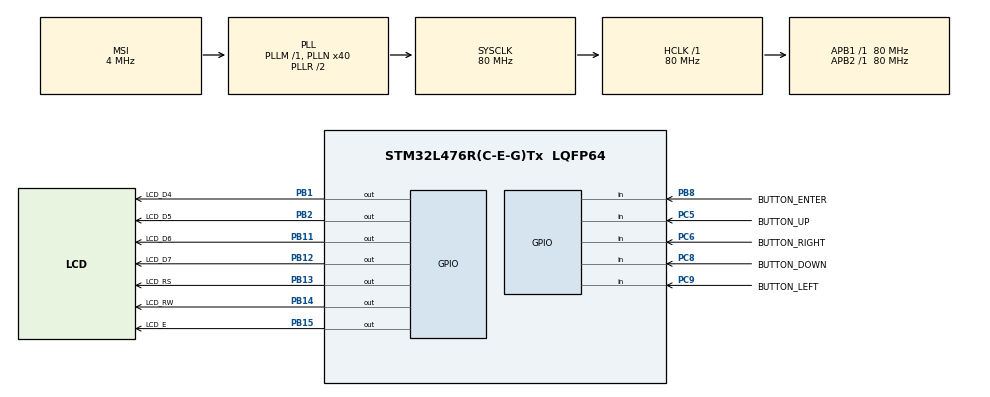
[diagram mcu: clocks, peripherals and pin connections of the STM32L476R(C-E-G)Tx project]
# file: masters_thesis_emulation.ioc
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Mcu.Family=STM32L4
Mcu.Name=STM32L476R(C-E-G)Tx
Mcu.Package=LQFP64
NVIC.PriorityGroup=NVIC_PRIORITYGROUP_4
PA13\ (JTMS-SWDIO).Mode=Serial_Wire
PA13\ (JTMS-SWDIO).Signal=SYS_JTMS-SWDIO
PA14\ (JTCK-SWCLK).Mode=Serial_Wire
PA14\ (JTCK-SWCLK).Signal=SYS_JTCK-SWCLK
PB1.GPIO_Label=LCD_D4
PB1.Signal=GPIO_Output
PB11.GPIO_Label=LCD_D6
PB11.Signal=GPIO_Output
PB12.GPIO_Label=LCD_D7
PB12.Signal=GPIO_Output
PB13.GPIO_Label=LCD_RS
PB13.Signal=GPIO_Output
PB14.GPIO_Label=LCD_RW
PB14.Signal=GPIO_Output
PB15.GPIO_Label=LCD_E
PB15.Signal=GPIO_Output
PB2.GPIO_Label=LCD_D5
PB2.Signal=GPIO_Output
PB8.GPIO_Label=BUTTON_ENTER
PB8.GPIO_PuPd=GPIO_PULLDOWN
PB8.Signal=GPIO_Input
PC5.GPIO_Label=BUTTON_UP
PC5.GPIO_PuPd=GPIO_PULLDOWN
PC5.Signal=GPIO_Input
PC6.GPIO_Label=BUTTON_RIGHT
PC6.GPIO_PuPd=GPIO_PULLDOWN
PC6.Signal=GPIO_Input
PC8.GPIO_Label=BUTTON_DOWN
PC8.GPIO_PuPd=GPIO_PULLDOWN
PC8.Signal=GPIO_Input
PC9.GPIO_Label=BUTTON_LEFT
PC9.GPIO_PuPd=GPIO_PULLDOWN
PC9.Signal=GPIO_Input
ProjectManager.HeapSize=0x200
ProjectManager.StackSize=0x400
ProjectManager.TargetToolchain=STM32CubeIDE
RCC.AHBFreq_Value=80000000
RCC.APB1Freq_Value=80000000
RCC.APB1TimFreq_Value=80000000
RCC.APB2Freq_Value=80000000
RCC.APB2TimFreq_Value=80000000
RCC.CortexFreq_Value=80000000
RCC.HCLKFreq_Value=80000000
RCC.HSE_VALUE=8000000
RCC.HSI_VALUE=16000000
RCC.LSE_VALUE=32768
RCC.MSI_VALUE=4000000
RCC.PLLN=40
RCC.SYSCLKFreq_VALUE=80000000
RCC.SYSCLKSource=RCC_SYSCLKSOURCE_PLLCLK
RCC.VCOOutputFreq_Value=160000000
board=custom

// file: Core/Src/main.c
/* USER CODE BEGIN Header */
/**
  ******************************************************************************
  * @file           : main.c
  * @brief          : Main program body
  ******************************************************************************
  * @attention
  *
  * Copyright (c) 2024 STMicroelectronics.
  * All rights reserved.
  *
  * This software is licensed under terms that can be found in the LICENSE file
  * in the root directory of this software component.
  * If no LICENSE file comes with this software, it is provided AS-IS.
  *
  ******************************************************************************
  */
/* USER CODE END Header */
#include "main.h"
#include "gpio.h"

/* USER CODE BEGIN Includes */
#include "lcd.h"
#include <stdbool.h>
/* USER CODE END Includes */

/* USER CODE BEGIN PTD */
#define button_portType GPIO_TypeDef*
#define button_pinType uint16_t
typedef struct {
	button_portType button_port;
	button_pinType button_pin;
} button_HandleTypeDef;
/* USER CODE END PTD */

/* USER CODE BEGIN PM */
#define BLINK_TIME 125
#define CLICK_TIME 100
/* USER CODE END PM */

void SystemClock_Config(void);
/* USER CODE BEGIN PFP */
void buttons();
/* USER CODE END PFP */

int main(void)
{

  /* MCU Configuration--------------------------------------------------------*/

  /* Reset of all peripherals, Initializes the Flash interface and the Systick. */
  HAL_Init();

  /* Configure the system clock */
  SystemClock_Config();

  /* Initialize all configured peripherals */
  MX_GPIO_Init();
  /* USER CODE BEGIN 2 */
  Lcd_PortType ports[] = { LCD_D4_GPIO_Port, LCD_D5_GPIO_Port, LCD_D6_GPIO_Port, LCD_D7_GPIO_Port };
  Lcd_PinType pins[] = {LCD_D4_Pin, LCD_D5_Pin, LCD_D6_Pin, LCD_D7_Pin};
  Lcd_HandleTypeDef lcd;
  lcd = Lcd_create(ports, pins, LCD_RS_GPIO_Port, LCD_RS_Pin, LCD_E_GPIO_Port, LCD_E_Pin, LCD_4_BIT_MODE);

  bool isEnterPressed = 0;
  enum pos {UNITIES = 7, TENTHS = 9, HUNDREDTHS = 10, UNITS = 12};
  int m = 150;
  int cursor_pos = 0;
  char lcd_infoText[] = "masa = ";
  char lcd_unitText[] = "[kg]";
  Lcd_cursor(&lcd, 0, cursor_pos);
  Lcd_string(&lcd, lcd_infoText);
  cursor_pos = strlen(lcd_infoText);
  Lcd_cursor(&lcd, 0, cursor_pos);
  Lcd_int(&lcd, m/100);
  Lcd_string(&lcd, ".");
  Lcd_int(&lcd, m%100);
  Lcd_cursor(&lcd, 0, UNITS);
  Lcd_string(&lcd, lcd_unitText);

  while (isEnterPressed == false)
  {
	  if(HAL_GPIO_ReadPin(BUTTON_UP_GPIO_Port, BUTTON_UP_Pin) == GPIO_PIN_SET && m < 300){
		  HAL_Delay(CLICK_TIME);
		  m++;
		  Lcd_cursor(&lcd, 0, cursor_pos);
		  Lcd_int(&lcd, m/100);
		  Lcd_string(&lcd, ".");
		  if (m%100 < 10){
			  Lcd_cursor(&lcd, 0, TENTHS);
			  Lcd_int(&lcd, 0);
			  Lcd_cursor(&lcd, 0, HUNDREDTHS);
		  }
		  Lcd_int(&lcd, m%100);
	  } else if (HAL_GPIO_ReadPin(BUTTON_DOWN_GPIO_Port, BUTTON_DOWN_Pin) == GPIO_PIN_SET && m > 0) {
		  HAL_Delay(CLICK_TIME);
		  m--;
		  Lcd_cursor(&lcd, 0, cursor_pos);
		  Lcd_int(&lcd, m/100);
		  Lcd_string(&lcd, ".");
		  if (m%100 < 10){
			  Lcd_cursor(&lcd, 0, TENTHS);
			  Lcd_int(&lcd, 0);
			  Lcd_cursor(&lcd, 0, HUNDREDTHS);
		  }
		  Lcd_int(&lcd, m%100);
	  } else if (HAL_GPIO_ReadPin(BUTTON_LEFT_GPIO_Port, BUTTON_LEFT_Pin) == GPIO_PIN_SET){

	  } else if (HAL_GPIO_ReadPin(BUTTON_RIGHT_GPIO_Port, BUTTON_RIGHT_Pin) == GPIO_PIN_SET){

	  } else if (HAL_GPIO_ReadPin(BUTTON_ENTER_GPIO_Port, BUTTON_ENTER_Pin) == GPIO_PIN_SET){
		  isEnterPressed = true;
		  while(HAL_GPIO_ReadPin(BUTTON_ENTER_GPIO_Port, BUTTON_ENTER_Pin) == GPIO_PIN_SET)
		  {}
	  }
  }
  /* USER CODE END 2 */

  /* Infinite loop */
  while (1)
  {

  }
}

void SystemClock_Config(void)
{
  RCC_OscInitTypeDef RCC_OscInitStruct = {0};
  RCC_ClkInitTypeDef RCC_ClkInitStruct = {0};

  /** Configure the main internal regulator output voltage
  */
  if (HAL_PWREx_ControlVoltageScaling(PWR_REGULATOR_VOLTAGE_SCALE1) != HAL_OK)
  {
    Error_Handler();
  }

  /** Initializes the RCC Oscillators according to the specified parameters
  * in the RCC_OscInitTypeDef structure.
  */
  RCC_OscInitStruct.OscillatorType = RCC_OSCILLATORTYPE_MSI;
  RCC_OscInitStruct.MSIState = RCC_MSI_ON;
  RCC_OscInitStruct.MSICalibrationValue = 0;
  RCC_OscInitStruct.MSIClockRange = RCC_MSIRANGE_6;
  RCC_OscInitStruct.PLL.PLLState = RCC_PLL_ON;
  RCC_OscInitStruct.PLL.PLLSource = RCC_PLLSOURCE_MSI;
  RCC_OscInitStruct.PLL.PLLM = 1;
  RCC_OscInitStruct.PLL.PLLN = 40;
  RCC_OscInitStruct.PLL.PLLP = RCC_PLLP_DIV7;
  RCC_OscInitStruct.PLL.PLLQ = RCC_PLLQ_DIV2;
  RCC_OscInitStruct.PLL.PLLR = RCC_PLLR_DIV2;
  if (HAL_RCC_OscConfig(&RCC_OscInitStruct) != HAL_OK)
  {
    Error_Handler();
  }

  /** Initializes the CPU, AHB and APB buses clocks
  */
  RCC_ClkInitStruct.ClockType = RCC_CLOCKTYPE_HCLK|RCC_CLOCKTYPE_SYSCLK
                              |RCC_CLOCKTYPE_PCLK1|RCC_CLOCKTYPE_PCLK2;
  RCC_ClkInitStruct.SYSCLKSource = RCC_SYSCLKSOURCE_PLLCLK;
  RCC_ClkInitStruct.AHBCLKDivider = RCC_SYSCLK_DIV1;
  RCC_ClkInitStruct.APB1CLKDivider = RCC_HCLK_DIV1;
  RCC_ClkInitStruct.APB2CLKDivider = RCC_HCLK_DIV1;

  if (HAL_RCC_ClockConfig(&RCC_ClkInitStruct, FLASH_LATENCY_4) != HAL_OK)
  {
    Error_Handler();
  }
}

void Error_Handler(void)
{
  __disable_irq();
  while (1)
  {
  }
}
